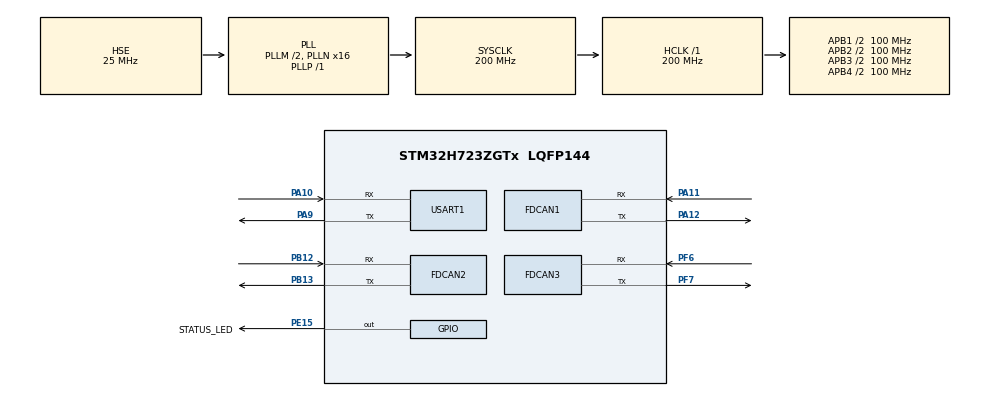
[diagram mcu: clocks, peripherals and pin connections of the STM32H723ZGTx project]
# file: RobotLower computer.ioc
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CORTEX_M7.default_mode_Activation=1
Dma.Request0=USART1_RX
Dma.Request1=USART1_TX
Dma.USART1_RX.0.Direction=DMA_PERIPH_TO_MEMORY
Dma.USART1_RX.0.EventEnable=DISABLE
Dma.USART1_RX.0.FIFOMode=DMA_FIFOMODE_DISABLE
Dma.USART1_RX.0.Instance=DMA1_Stream0
Dma.USART1_RX.0.MemDataAlignment=DMA_MDATAALIGN_BYTE
Dma.USART1_RX.0.MemInc=DMA_MINC_ENABLE
Dma.USART1_RX.0.Mode=DMA_NORMAL
Dma.USART1_RX.0.PeriphDataAlignment=DMA_PDATAALIGN_BYTE
Dma.USART1_RX.0.PeriphInc=DMA_PINC_DISABLE
Dma.USART1_RX.0.Polarity=HAL_DMAMUX_REQ_GEN_RISING
Dma.USART1_RX.0.Priority=DMA_PRIORITY_LOW
Dma.USART1_RX.0.RequestNumber=1
Dma.USART1_RX.0.SignalID=NONE
Dma.USART1_RX.0.SyncEnable=DISABLE
Dma.USART1_RX.0.SyncPolarity=HAL_DMAMUX_SYNC_NO_EVENT
Dma.USART1_RX.0.SyncRequestNumber=1
Dma.USART1_RX.0.SyncSignalID=NONE
Dma.USART1_TX.1.Direction=DMA_MEMORY_TO_PERIPH
Dma.USART1_TX.1.EventEnable=DISABLE
Dma.USART1_TX.1.FIFOMode=DMA_FIFOMODE_DISABLE
Dma.USART1_TX.1.Instance=DMA1_Stream1
Dma.USART1_TX.1.MemDataAlignment=DMA_MDATAALIGN_BYTE
Dma.USART1_TX.1.MemInc=DMA_MINC_ENABLE
Dma.USART1_TX.1.Mode=DMA_NORMAL
Dma.USART1_TX.1.PeriphDataAlignment=DMA_PDATAALIGN_BYTE
Dma.USART1_TX.1.PeriphInc=DMA_PINC_DISABLE
Dma.USART1_TX.1.Polarity=HAL_DMAMUX_REQ_GEN_RISING
Dma.USART1_TX.1.Priority=DMA_PRIORITY_LOW
Dma.USART1_TX.1.RequestNumber=1
Dma.USART1_TX.1.SignalID=NONE
Dma.USART1_TX.1.SyncEnable=DISABLE
Dma.USART1_TX.1.SyncPolarity=HAL_DMAMUX_SYNC_NO_EVENT
Dma.USART1_TX.1.SyncRequestNumber=1
Dma.USART1_TX.1.SyncSignalID=NONE
FDCAN1.CalculateBaudRateNominal=1000000
FDCAN1.CalculateTimeBitNominal=1000
FDCAN1.CalculateTimeQuantumNominal=50.0
FDCAN1.DataPrescaler=6
FDCAN1.DataSyncJumpWidth=5
FDCAN1.DataTimeSeg1=14
FDCAN1.DataTimeSeg2=5
FDCAN1.NominalPrescaler=5
FDCAN1.NominalSyncJumpWidth=5
FDCAN1.NominalTimeSeg1=14
FDCAN1.NominalTimeSeg2=5
FDCAN1.RxFifo0ElmtsNbr=3
FDCAN1.RxFifo1ElmtsNbr=3
FDCAN1.StdFiltersNbr=2
FDCAN1.TxFifoQueueElmtsNbr=3
FDCAN2.CalculateBaudRateNominal=1000000
FDCAN2.CalculateTimeBitNominal=1000
FDCAN2.CalculateTimeQuantumNominal=50.0
FDCAN2.DataPrescaler=6
FDCAN2.DataSyncJumpWidth=5
FDCAN2.DataTimeSeg1=14
FDCAN2.DataTimeSeg2=5
FDCAN2.MessageRAMOffset=38
FDCAN2.NominalPrescaler=5
FDCAN2.NominalSyncJumpWidth=5
FDCAN2.NominalTimeSeg1=14
FDCAN2.NominalTimeSeg2=5
FDCAN2.RxFifo0ElmtsNbr=4
FDCAN2.RxFifo1ElmtsNbr=3
FDCAN2.StdFiltersNbr=2
FDCAN2.TxFifoQueueElmtsNbr=3
FDCAN3.CalculateBaudRateNominal=1000000
FDCAN3.CalculateTimeBitNominal=1000
FDCAN3.CalculateTimeQuantumNominal=50.0
FDCAN3.DataPrescaler=6
FDCAN3.DataSyncJumpWidth=5
FDCAN3.DataTimeSeg1=14
FDCAN3.DataTimeSeg2=5
FDCAN3.MessageRAMOffset=80
FDCAN3.NominalPrescaler=5
FDCAN3.NominalSyncJumpWidth=5
FDCAN3.NominalTimeSeg1=14
FDCAN3.NominalTimeSeg2=5
FDCAN3.RxFifo0ElmtsNbr=3
FDCAN3.RxFifo1ElmtsNbr=3
FDCAN3.StdFiltersNbr=2
FDCAN3.TxFifoQueueElmtsNbr=3
FREERTOS.Tasks01=defaultTask,24,128,StartDefaultTask,Default,NULL,Dynamic,NULL,NULL
FREERTOS.configMAX_TASK_NAME_LEN=128
Mcu.Family=STM32H7
Mcu.Name=STM32H723ZGTx
Mcu.Package=LQFP144
NVIC.DMA1_Stream0_IRQn=true\:5\:0\:false\:false\:true\:true\:false\:true\:true
NVIC.DMA1_Stream1_IRQn=true\:5\:0\:false\:false\:true\:true\:false\:true\:true
NVIC.FDCAN1_IT0_IRQn=true\:5\:0\:false\:false\:true\:true\:true\:true\:true
NVIC.FDCAN1_IT1_IRQn=true\:5\:0\:false\:false\:true\:true\:true\:true\:true
NVIC.FDCAN2_IT0_IRQn=true\:5\:0\:false\:false\:true\:true\:true\:true\:true
NVIC.FDCAN2_IT1_IRQn=true\:5\:0\:false\:false\:true\:true\:true\:true\:true
NVIC.FDCAN3_IT0_IRQn=true\:5\:0\:false\:false\:true\:true\:true\:true\:true
NVIC.FDCAN3_IT1_IRQn=true\:5\:0\:false\:false\:true\:true\:true\:true\:true
NVIC.PriorityGroup=NVIC_PRIORITYGROUP_4
NVIC.TIM16_IRQn=true\:15\:0\:false\:false\:true\:false\:false\:true\:true
NVIC.TimeBase=TIM16_IRQn
NVIC.TimeBaseIP=TIM16
NVIC.USART1_IRQn=true\:5\:0\:false\:false\:true\:true\:true\:true\:true
PA10.Mode=Asynchronous
PA10.Signal=USART1_RX
PA11.Mode=FDCAN_Activate
PA11.Signal=FDCAN1_RX
PA12.Mode=FDCAN_Activate
PA12.Signal=FDCAN1_TX
PA13(JTMS/SWDIO).Mode=Serial_Wire
PA13(JTMS/SWDIO).Signal=DEBUG_JTMS-SWDIO
PA14(JTCK/SWCLK).Mode=Serial_Wire
PA14(JTCK/SWCLK).Signal=DEBUG_JTCK-SWCLK
PA9.Mode=Asynchronous
PA9.Signal=USART1_TX
PB12.Mode=FDCAN_Activate
PB12.Signal=FDCAN2_RX
PB13.Mode=FDCAN_Activate
PB13.Signal=FDCAN2_TX
PE15.GPIO_Label=STATUS_LED
PE15.Signal=GPIO_Output
PC14-OSC32_IN.Mode=LSE-External-Oscillator
PC14-OSC32_IN.Signal=RCC_OSC32_IN
PC15-OSC32_OUT.Mode=LSE-External-Oscillator
PC15-OSC32_OUT.Signal=RCC_OSC32_OUT
PH0-OSC_IN.Mode=HSE-External-Oscillator
PH0-OSC_IN.Signal=RCC_OSC_IN
PH1-OSC_OUT.Mode=HSE-External-Oscillator
PH1-OSC_OUT.Signal=RCC_OSC_OUT
PF6.Mode=FDCAN_Activate
PF6.Signal=FDCAN3_RX
PF7.Mode=FDCAN_Activate
PF7.Signal=FDCAN3_TX
ProjectManager.HeapSize=0x400
ProjectManager.StackSize=0x800
ProjectManager.TargetToolchain=MDK-ARM V5.32
RCC.ADCFreq_Value=50390625
RCC.APB1Freq_Value=100000000
RCC.APB2Freq_Value=100000000
RCC.APB3Freq_Value=100000000
RCC.APB4Freq_Value=100000000
RCC.CortexFreq_Value=200000000
RCC.D1PPRE=RCC_APB3_DIV2
RCC.D2PPRE1=RCC_APB1_DIV2
RCC.D2PPRE2=RCC_APB2_DIV2
RCC.D3PPRE=RCC_APB4_DIV2
RCC.DIVM1=2
RCC.DIVN1=16
RCC.DIVP1=1
RCC.HCLKFreq_Value=200000000
RCC.HSE_VALUE=25000000
RCC.PLLFRACN=0
RCC.PLLSourceVirtual=RCC_PLLSOURCE_HSE
RCC.SYSCLKFreq_VALUE=200000000
RCC.SYSCLKSource=RCC_SYSCLKSOURCE_PLLCLK
RCC.USBFreq_Value=100000000
USART1.VirtualMode-Asynchronous=VM_ASYNC
VP_FREERTOS_VS_CMSIS_V2.Mode=CMSIS_V2
VP_MEMORYMAP_VS_MEMORYMAP.Mode=CurAppReg
VP_SYS_VS_tim16.Mode=TIM16
board=custom

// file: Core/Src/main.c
/* USER CODE BEGIN Header */
/**
  ******************************************************************************
  * @file           : main.c
  * @brief          : Main program body
  ******************************************************************************
  * @attention
  *
  * Copyright (c) 2026 STMicroelectronics.
  * All rights reserved.
  *
  * This software is licensed under terms that can be found in the LICENSE file
  * in the root directory of this software component.
  * If no LICENSE file comes with this software, it is provided AS-IS.
  *
  ******************************************************************************
  */
/* USER CODE END Header */
#include "main.h"
#include "cmsis_os.h"
#include "dma.h"
#include "fdcan.h"
#include "usart.h"
#include "gpio.h"

void SystemClock_Config(void);
static void MPU_Config(void);
void MX_FREERTOS_Init(void);

int main(void)
{

  /* MPU Configuration--------------------------------------------------------*/
  MPU_Config();

  /* MCU Configuration--------------------------------------------------------*/

  /* Reset of all peripherals, Initializes the Flash interface and the Systick. */
  HAL_Init();

  /* Configure the system clock */
  SystemClock_Config();

  /* Initialize all configured peripherals */
  MX_GPIO_Init();
  MX_DMA_Init();
  MX_FDCAN1_Init();
  MX_FDCAN2_Init();
  MX_FDCAN3_Init();
  MX_USART1_UART_Init();

  /* Init scheduler */
  osKernelInitialize();  /* Call init function for freertos objects (in cmsis_os2.c) */
  MX_FREERTOS_Init();

  /* Start scheduler */
  osKernelStart();

  /* We should never get here as control is now taken by the scheduler */

  /* Infinite loop */
  while (1)
  {

  }
}

void SystemClock_Config(void)
{
  RCC_OscInitTypeDef RCC_OscInitStruct = {0};
  RCC_ClkInitTypeDef RCC_ClkInitStruct = {0};

  /** Supply configuration update enable
  */
  HAL_PWREx_ConfigSupply(PWR_LDO_SUPPLY);

  /** Configure the main internal regulator output voltage
  */
  __HAL_PWR_VOLTAGESCALING_CONFIG(PWR_REGULATOR_VOLTAGE_SCALE1);

  while(!__HAL_PWR_GET_FLAG(PWR_FLAG_VOSRDY)) {}

  /** Initializes the RCC Oscillators according to the specified parameters
  * in the RCC_OscInitTypeDef structure.
  */
  RCC_OscInitStruct.OscillatorType = RCC_OSCILLATORTYPE_HSE;
  RCC_OscInitStruct.HSEState = RCC_HSE_ON;
  RCC_OscInitStruct.PLL.PLLState = RCC_PLL_ON;
  RCC_OscInitStruct.PLL.PLLSource = RCC_PLLSOURCE_HSE;
  RCC_OscInitStruct.PLL.PLLM = 2;
  RCC_OscInitStruct.PLL.PLLN = 16;
  RCC_OscInitStruct.PLL.PLLP = 1;
  RCC_OscInitStruct.PLL.PLLQ = 2;
  RCC_OscInitStruct.PLL.PLLR = 2;
  RCC_OscInitStruct.PLL.PLLRGE = RCC_PLL1VCIRANGE_3;
  RCC_OscInitStruct.PLL.PLLVCOSEL = RCC_PLL1VCOWIDE;
  RCC_OscInitStruct.PLL.PLLFRACN = 0;
  if (HAL_RCC_OscConfig(&RCC_OscInitStruct) != HAL_OK)
  {
    Error_Handler();
  }

  /** Initializes the CPU, AHB and APB buses clocks
  */
  RCC_ClkInitStruct.ClockType = RCC_CLOCKTYPE_HCLK|RCC_CLOCKTYPE_SYSCLK
                              |RCC_CLOCKTYPE_PCLK1|RCC_CLOCKTYPE_PCLK2
                              |RCC_CLOCKTYPE_D3PCLK1|RCC_CLOCKTYPE_D1PCLK1;
  RCC_ClkInitStruct.SYSCLKSource = RCC_SYSCLKSOURCE_PLLCLK;
  RCC_ClkInitStruct.SYSCLKDivider = RCC_SYSCLK_DIV1;
  RCC_ClkInitStruct.AHBCLKDivider = RCC_HCLK_DIV1;
  RCC_ClkInitStruct.APB3CLKDivider = RCC_APB3_DIV2;
  RCC_ClkInitStruct.APB1CLKDivider = RCC_APB1_DIV2;
  RCC_ClkInitStruct.APB2CLKDivider = RCC_APB2_DIV2;
  RCC_ClkInitStruct.APB4CLKDivider = RCC_APB4_DIV2;

  if (HAL_RCC_ClockConfig(&RCC_ClkInitStruct, FLASH_LATENCY_2) != HAL_OK)
  {
    Error_Handler();
  }
}

 /* MPU Configuration */

void MPU_Config(void)
{
  MPU_Region_InitTypeDef MPU_InitStruct = {0};

  /* Disables the MPU */
  HAL_MPU_Disable();

  /** Initializes and configures the Region and the memory to be protected
  */
  MPU_InitStruct.Enable = MPU_REGION_ENABLE;
  MPU_InitStruct.Number = MPU_REGION_NUMBER0;
  MPU_InitStruct.BaseAddress = 0x0;
  MPU_InitStruct.Size = MPU_REGION_SIZE_4GB;
  MPU_InitStruct.SubRegionDisable = 0x87;
  MPU_InitStruct.TypeExtField = MPU_TEX_LEVEL0;
  MPU_InitStruct.AccessPermission = MPU_REGION_NO_ACCESS;
  MPU_InitStruct.DisableExec = MPU_INSTRUCTION_ACCESS_DISABLE;
  MPU_InitStruct.IsShareable = MPU_ACCESS_SHAREABLE;
  MPU_InitStruct.IsCacheable = MPU_ACCESS_NOT_CACHEABLE;
  MPU_InitStruct.IsBufferable = MPU_ACCESS_NOT_BUFFERABLE;

  HAL_MPU_ConfigRegion(&MPU_InitStruct);
  /* Enables the MPU */
  HAL_MPU_Enable(MPU_PRIVILEGED_DEFAULT);

}

void HAL_TIM_PeriodElapsedCallback(TIM_HandleTypeDef *htim)
{
  if (htim->Instance == TIM16)
  {
    HAL_IncTick();
  }
}

void Error_Handler(void)
{
  __disable_irq();
  while (1)
  {
  }
}

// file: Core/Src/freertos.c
/* USER CODE BEGIN Header */
/**
  ******************************************************************************
  * File Name          : freertos.c
  * Description        : Code for freertos applications
  ******************************************************************************
  * @attention
  *
  * Copyright (c) 2026 STMicroelectronics.
  * All rights reserved.
  *
  * This software is licensed under terms that can be found in the LICENSE file
  * in the root directory of this software component.
  * If no LICENSE file comes with this software, it is provided AS-IS.
  *
  ******************************************************************************
  */
/* USER CODE END Header */

#include "FreeRTOS.h"
#include "task.h"
#include "main.h"
#include "cmsis_os.h"

/* USER CODE BEGIN Includes */
#include "chassis_config.h"
#include "chassis.h"

/* USER CODE END Includes */

/* USER CODE BEGIN Variables */
osThreadId_t chassisTaskHandle;
const osThreadAttr_t chassisTask_attributes = {
  .name = "chassisTask",
  .stack_size = CHASSIS_TASK_STACK_BYTES,
  .priority = (osPriority_t) osPriorityAboveNormal,
};

/* USER CODE END Variables */
/* Definitions for defaultTask */
osThreadId_t defaultTaskHandle;
const osThreadAttr_t defaultTask_attributes = {
  .name = "defaultTask",
  .stack_size = 128 * 4,
  .priority = (osPriority_t) osPriorityNormal,
};

void StartDefaultTask(void *argument);

void MX_FREERTOS_Init(void); /* (MISRA C 2004 rule 8.1) */

void MX_FREERTOS_Init(void) {

  /* Create the thread(s) */
  /* creation of defaultTask */
  defaultTaskHandle = osThreadNew(StartDefaultTask, NULL, &defaultTask_attributes);

  /* USER CODE BEGIN RTOS_THREADS */
  if (ChassisInit() != 0U)
  {
    chassisTaskHandle = osThreadNew(
      ChassisTask,
      NULL,
      &chassisTask_attributes);
  }
  /* USER CODE END RTOS_THREADS */

}

void StartDefaultTask(void *argument)
{
  /* USER CODE BEGIN StartDefaultTask */
  /* Infinite loop */
  for(;;)
  {
    HAL_GPIO_TogglePin(STATUS_LED_GPIO_Port, STATUS_LED_Pin);
    osDelay(500U);
  }
  /* USER CODE END StartDefaultTask */
}
